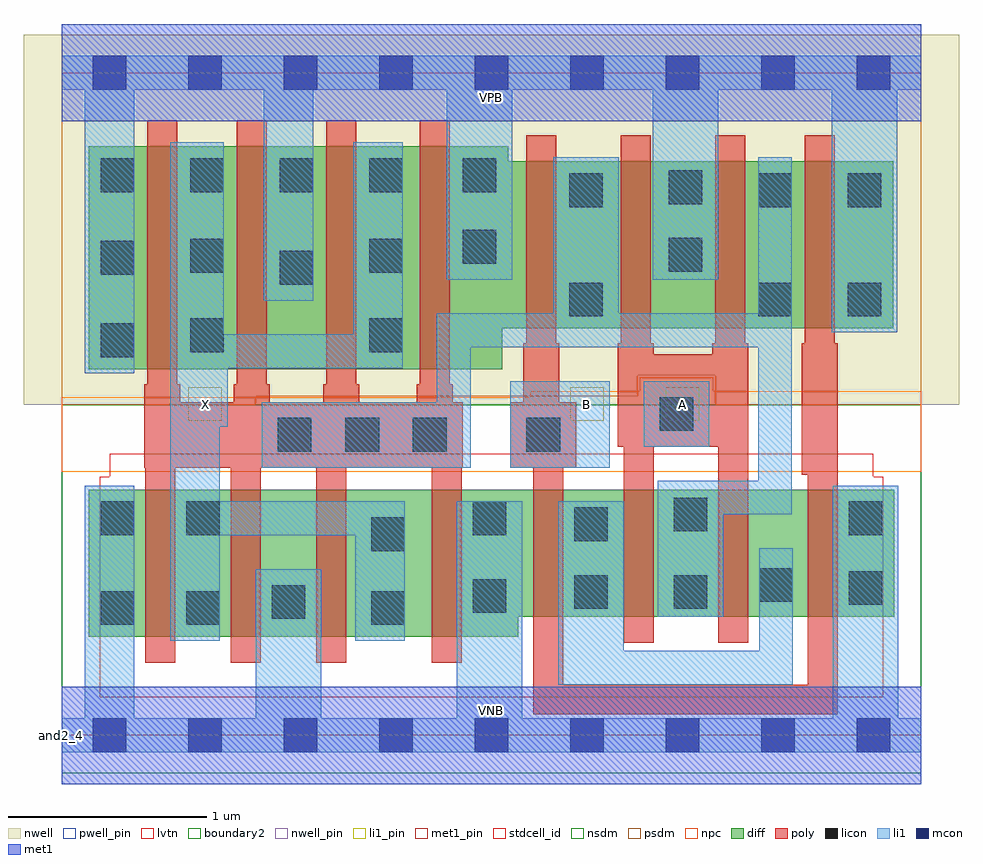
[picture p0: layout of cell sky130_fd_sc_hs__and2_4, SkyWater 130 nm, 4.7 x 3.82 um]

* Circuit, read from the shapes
.subckt sky130_fd_sc_hs__and2_4 A B VGND VNB VPB VPWR X
XM1 X n1 VGND VNB sky130_fd_pr__nfet_01v8_lvt w=0.74 l=0.15 m=4
XM2 n2 B VGND VNB sky130_fd_pr__nfet_01v8_lvt w=0.64 l=0.15 m=2
XM3 n1 A n2 VNB sky130_fd_pr__nfet_01v8_lvt w=0.64 l=0.15 m=2
XM4 X n1 VPWR VPB sky130_fd_pr__pfet_01v8 w=1.12 l=0.15 m=4
XM5 n1 B VPWR VPB sky130_fd_pr__pfet_01v8 w=0.84 l=0.15 m=2
XM6 VPWR A n1 VPB sky130_fd_pr__pfet_01v8 w=0.84 l=0.15 m=2
.ends

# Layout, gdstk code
import gdstk
lib = gdstk.Library(unit=1e-6, precision=1e-09)
def R(c, l, rs):  # rectangles x0, y0, x1, y1
    for r in rs: c.add(gdstk.rectangle(r[:2], r[2:], *l))
def A(c, l, x, y, w, h, nx, ny, dx, dy):  # array of equal rectangles
    R(c, l, [(x+i*dx, y+j*dy, x+i*dx+w, y+j*dy+h) for i in range(nx) for j in range(ny)])
def P(c, l, *ps):  # polygons
    for p in ps: c.add(gdstk.Polygon(p, *l))
nwell_pin = (64, 16)
nwell = (64, 20)
diff = (65, 20)
poly = (66, 20)
licon = (66, 44)
li1_pin = (67, 16)
li1 = (67, 20)
mcon = (67, 44)
met1_pin = (68, 16)
met1 = (68, 20)
stdcell_id = (81, 4)
nsdm = (93, 44)
psdm = (94, 20)
npc = (95, 20)
pwell_pin = (122, 16)
lvtn = (125, 44)
boundary2 = (236, 0)

sky130_fd_sc_hs__and2_4 = lib.new_cell('sky130_fd_sc_hs__and2_4')
R(sky130_fd_sc_hs__and2_4, nwell_pin, [(0,3.085,4.32,3.33)])
R(sky130_fd_sc_hs__and2_4, nwell, [(-0.19,1.66,4.51,3.52)])
P(sky130_fd_sc_hs__and2_4, diff, [(4.18,2.885),(2.245,2.885),(2.245,2.96),(0.135,2.96),(0.135,1.84),(2.215,1.84),(2.215,2.045),(4.18,2.045)],
  [(4.185,1.235),(0.135,1.235),(0.135,0.495),(2.295,0.495),(2.295,0.595),(4.185,0.595)])
P(sky130_fd_sc_hs__and2_4, poly, [(3.45,1.97),(3.435,1.97),(3.435,3.015),(3.285,3.015),(3.285,1.97),(3.27,1.97),(3.27,1.915),(2.975,1.915),(2.975,1.97),(2.96,1.97),(2.96,3.015),(2.81,3.015),(2.81,1.97),(2.795,1.97),(2.795,1.45),(2.825,1.45),(2.825,0.465),(2.975,0.465),(2.975,1.45),(3.3,1.45),(3.3,0.465),(3.45,0.465)],
  [(3.9,1.97),(3.885,1.97),(3.885,3.015),(3.735,3.015),(3.735,1.97),(3.72,1.97),(3.72,1.31),(3.75,1.31),(3.75,0.255),(2.52,0.255),(2.52,1.345),(2.585,1.345),(2.585,1.675),(2.5,1.675),(2.5,1.97),(2.485,1.97),(2.485,3.015),(2.335,3.015),(2.335,1.97),(2.32,1.97),(2.32,1.675),(2.255,1.675),(2.255,1.345),(2.37,1.345),(2.37,0.105),(3.9,0.105)],
  [(2.015,1.675),(1.965,1.675),(1.965,1.765),(1.95,1.765),(1.95,3.09),(1.8,3.09),(1.8,1.765),(1.785,1.765),(1.785,1.675),(1.495,1.675),(1.495,1.765),(1.48,1.765),(1.48,3.09),(1.33,3.09),(1.33,1.765),(1.315,1.765),(1.315,1.675),(1.045,1.675),(1.045,1.765),(1.03,1.765),(1.03,3.09),(0.88,3.09),(0.88,1.765),(0.865,1.765),(0.865,1.675),(0.595,1.675),(0.595,1.765),(0.58,1.765),(0.58,3.09),(0.43,3.09),(0.43,1.765),(0.415,1.765),(0.415,1.345),(0.42,1.345),(0.42,0.365),(0.57,0.365),(0.57,1.345),(0.85,1.345),(0.85,0.365),(1,0.365),(1,1.345),(1.28,1.345),(1.28,0.365),(1.43,0.365),(1.43,1.345),(1.86,1.345),(1.86,0.365),(2.01,0.365),(2.01,1.345),(2.015,1.345)])
A(sky130_fd_sc_hs__and2_4, licon, 1.085, 1.425, 0.17, 0.17, 3, 1, 0.34, 0)
A(sky130_fd_sc_hs__and2_4, licon, 0.195, 2.73, 0.17, 0.17, 4, 1, 0.45, 0)
R(sky130_fd_sc_hs__and2_4, licon, [(0.195,0.555,0.365,0.725), (0.625,0.555,0.795,0.725), (1.555,0.555,1.725,0.725), (1.055,0.585,1.225,0.755), (2.065,0.615,2.235,0.785), (2.575,0.635,2.745,0.805), (3.075,0.635,3.245,0.805), (3.955,0.655,4.125,0.825), (3.505,0.67,3.675,0.84), (1.555,0.925,1.725,1.095), (2.575,0.975,2.745,1.145), (0.195,1.005,0.365,1.175), (0.625,1.005,0.795,1.175), (2.065,1.005,2.235,1.175), (3.955,1.005,4.125,1.175), (3.075,1.025,3.245,1.195), (2.335,1.425,2.505,1.595), (3.005,1.53,3.175,1.7), (0.195,1.9,0.365,2.07), (0.645,1.925,0.815,2.095), (1.545,1.925,1.715,2.095), (2.55,2.105,2.72,2.275), (3.5,2.105,3.67,2.275), (3.95,2.105,4.12,2.275), (1.095,2.265,1.265,2.435), (0.195,2.315,0.365,2.485), (0.645,2.325,0.815,2.495), (1.545,2.325,1.715,2.495), (3.05,2.33,3.22,2.5), (2.015,2.37,2.185,2.54), (2.55,2.655,2.72,2.825), (3.5,2.655,3.67,2.825), (3.95,2.655,4.12,2.825), (3.05,2.67,3.22,2.84), (2.015,2.73,2.185,2.9)])
R(sky130_fd_sc_hs__and2_4, li1_pin, [(0.635,1.58,0.805,1.75), (2.555,1.58,2.725,1.75), (3.035,1.58,3.205,1.75)])
R(sky130_fd_sc_hs__and2_4, li1, [(2.255,1.345,2.755,1.78), (2.925,1.45,3.255,1.78)])
P(sky130_fd_sc_hs__and2_4, li1, [(0,-0.085),(0,0.085),(0.115,0.085),(0.115,1.255),(0.365,1.255),(0.365,0.085),(0.975,0.085),(0.975,0.835),(1.305,0.835),(1.305,0.085),(1.985,0.085),(1.985,1.175),(2.315,1.175),(2.315,0.085),(3.875,0.085),(3.875,1.255),(4.205,1.255),(4.205,0.085),(4.32,0.085),(4.32,-0.085)],
  [(0,3.245),(0,3.415),(4.32,3.415),(4.32,3.245),(4.2,3.245),(4.2,2.025),(3.87,2.025),(3.87,3.245),(3.3,3.245),(3.3,2.29),(2.97,2.29),(2.97,3.245),(2.265,3.245),(2.265,2.29),(1.935,2.29),(1.935,3.245),(1.265,3.245),(1.265,2.185),(1.015,2.185),(1.015,3.245),(0.365,3.245),(0.365,1.82),(0.115,1.82),(0.115,3.245)],
  [(0.545,2.98),(0.815,2.98),(0.815,2.015),(1.465,2.015),(1.465,2.98),(1.715,2.98),(1.715,1.845),(0.835,1.845),(0.835,1.55),(0.795,1.55),(0.795,1.175),(1.725,1.175),(1.725,0.475),(1.475,0.475),(1.475,1.005),(0.795,1.005),(0.795,0.475),(0.545,0.475)],
  [(1.885,2.12),(2.47,2.12),(2.47,2.905),(2.8,2.905),(2.8,2.12),(3.5,2.12),(3.5,2.905),(3.67,2.905),(3.67,1.11),(3.325,1.11),(3.325,0.595),(2.995,0.595),(2.995,1.28),(3.5,1.28),(3.5,1.95),(2.055,1.95),(2.055,1.345),(1.005,1.345),(1.005,1.675),(1.885,1.675)],
  [(2.825,0.425),(3.505,0.425),(3.505,0.94),(3.675,0.94),(3.675,0.255),(2.495,0.255),(2.495,1.175),(2.825,1.175)])
A(sky130_fd_sc_hs__and2_4, mcon, 0.155, -0.085, 0.17, 0.17, 9, 2, 0.48, 3.33)
R(sky130_fd_sc_hs__and2_4, met1_pin, [(0,0,4.32,0.245), (0,3.085,4.32,3.33)])
R(sky130_fd_sc_hs__and2_4, met1, [(0,-0.245,4.32,0.245), (0,3.085,4.32,3.575)])
R(sky130_fd_sc_hs__and2_4, stdcell_id, [(0,0,4.32,3.33)])
R(sky130_fd_sc_hs__and2_4, nsdm, [(0,-0.19,4.32,1.66)])
P(sky130_fd_sc_hs__and2_4, psdm, [(4.32,3.52),(0,3.52),(0,1.66),(0.975,1.66),(0.975,1.705),(2.895,1.705),(2.895,1.81),(3.285,1.81),(3.285,1.66),(4.32,1.66)])
P(sky130_fd_sc_hs__and2_4, npc, [(4.32,1.73),(3.275,1.73),(3.275,1.8),(2.905,1.8),(2.905,1.73),(2.355,1.73),(2.355,1.7),(0,1.7),(0,1.325),(4.32,1.325)])
R(sky130_fd_sc_hs__and2_4, pwell_pin, [(0,0,4.32,0.245)])
P(sky130_fd_sc_hs__and2_4, lvtn, [(4.13,1.3),(4.08,1.3),(4.08,1.415),(0.24,1.415),(0.24,1.3),(0.19,1.3),(0.19,0.19),(4.13,0.19)])
R(sky130_fd_sc_hs__and2_4, boundary2, [(0,0,4.32,3.33)])
sky130_fd_sc_hs__and2_4.add(gdstk.Label('and2_4', (0,0), layer=83, texttype=44))
sky130_fd_sc_hs__and2_4.add(gdstk.Label('VNB', (2.16,0.123), layer=64, texttype=59))
sky130_fd_sc_hs__and2_4.add(gdstk.Label('VPB', (2.16,3.208), layer=64, texttype=5))
sky130_fd_sc_hs__and2_4.add(gdstk.Label('VPWR', (2.16,3.208), layer=68, texttype=5))
sky130_fd_sc_hs__and2_4.add(gdstk.Label('VGND', (2.16,0.123), layer=68, texttype=5))
sky130_fd_sc_hs__and2_4.add(gdstk.Label('X', (0.72,1.665), layer=67, texttype=5))
sky130_fd_sc_hs__and2_4.add(gdstk.Label('A', (3.12,1.665), layer=67, texttype=5))
sky130_fd_sc_hs__and2_4.add(gdstk.Label('B', (2.64,1.665), layer=67, texttype=5))

lib.write_gds('sky130_fd_sc_hs__and2_4.gds')
